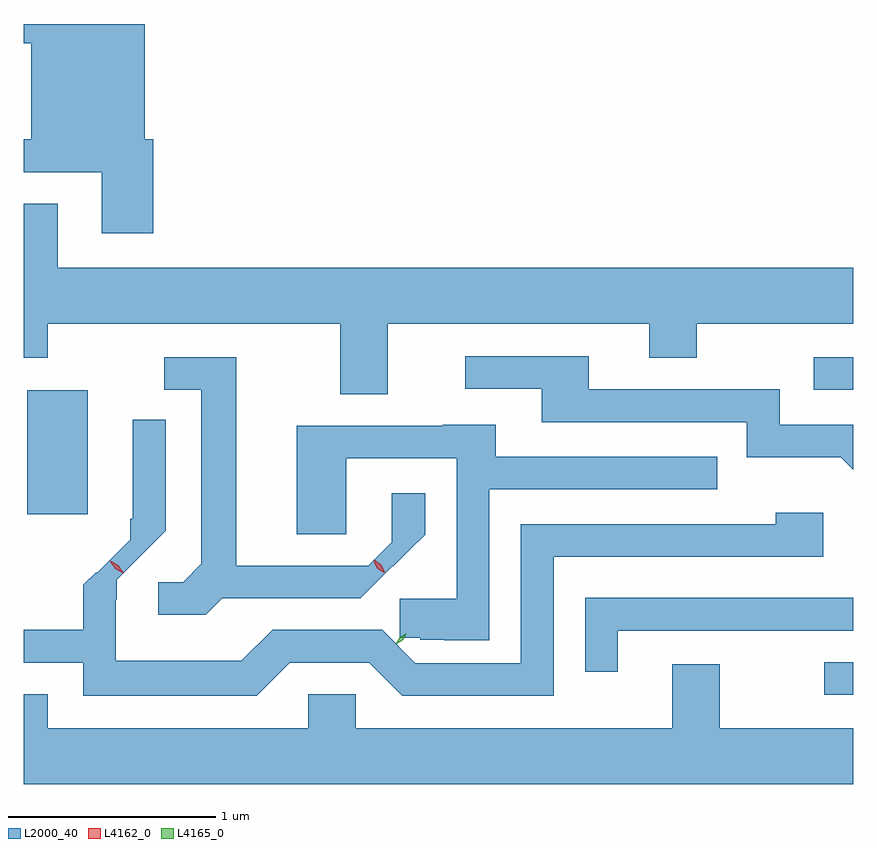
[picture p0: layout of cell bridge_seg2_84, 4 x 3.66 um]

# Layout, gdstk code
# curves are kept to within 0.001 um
import gdstk
lib = gdstk.Library(unit=1e-6, precision=1e-09)
def R(c, l, rs):  # rectangles x0, y0, x1, y1
    for r in rs: c.add(gdstk.rectangle(r[:2], r[2:], *l))
def P(c, l, *ps):  # polygons
    for p in ps: c.add(gdstk.Polygon(p, *l))
L2000_40 = (2000, 40)
L4162_0 = (4162, 0)
L4165_0 = (4165, 0)

bridge_seg2_84 = lib.new_cell('bridge_seg2_84')
R(bridge_seg2_84, L2000_40, [(1225.843,1088.706,1225.984,1088.864), (1222.001,1089.576,1222.294,1090.174), (1225.793,1090.176,1225.984,1090.334)])
P(bridge_seg2_84, L2000_40, [(1222.609,1091.384),(1222.569,1091.384),(1222.569,1091.94),(1221.984,1091.94),(1221.984,1091.846),(1222.021,1091.846),(1222.021,1091.384),(1221.984,1091.384),(1221.984,1091.226),(1222.361,1091.226),(1222.361,1090.931),(1222.609,1090.931)],
  [(1223.739,1090.496),(1225.001,1090.496),(1225.001,1090.331),(1225.229,1090.331),(1225.229,1090.496),(1225.984,1090.496),(1225.984,1090.764),(1222.149,1090.764),(1222.149,1091.074),(1221.984,1091.074),(1221.984,1090.331),(1222.099,1090.331),(1222.099,1090.496),(1223.511,1090.496),(1223.511,1090.156),(1223.739,1090.156)],
  [(1225.984,1090.009),(1225.629,1090.009),(1225.629,1090.179),(1224.709,1090.179),(1224.709,1090.339),(1224.113,1090.339),(1224.113,1090.181),(1224.481,1090.181),(1224.481,1090.021),(1225.471,1090.021),(1225.471,1089.851),(1225.924,1089.851),(1225.984,1089.791)],
  [(1222.942,1089.171),(1223.607,1089.171),(1223.763,1089.327),(1223.765,1089.326),(1223.919,1089.478),(1223.919,1089.678),(1223.759,1089.678),(1223.759,1089.442),(1223.646,1089.329),(1223.009,1089.329),(1223.009,1090.334),(1222.663,1090.334),(1222.663,1090.176),(1222.841,1090.176),(1222.841,1089.337),(1222.754,1089.249),(1222.633,1089.249),(1222.633,1089.091),(1222.862,1089.091)],
  [(1223.267,1088.861),(1223.649,1088.861),(1223.809,1088.701),(1224.539,1088.701),(1224.539,1089.371),(1225.839,1089.371),(1225.839,1089.584),(1225.611,1089.584),(1225.611,1089.529),(1224.381,1089.529),(1224.381,1088.859),(1223.872,1088.859),(1223.712,1089.019),(1223.184,1089.019),(1223.034,1088.869),(1222.429,1088.869),(1222.429,1089.165),(1222.433,1089.165),(1222.433,1089.261),(1222.669,1089.497),(1222.669,1090.033),(1222.511,1090.033),(1222.511,1089.555),(1222.498,1089.555),(1222.498,1089.453),(1222.338,1089.294),(1222.334,1089.298),(1222.271,1089.236),(1222.271,1089.019),(1221.984,1089.019),(1221.984,1088.861),(1222.271,1088.861),(1222.271,1088.701),(1223.107,1088.701)],
  [(1224.229,1089.696),(1225.328,1089.696),(1225.328,1089.854),(1224.259,1089.854),(1224.259,1090.009),(1224.005,1090.009),(1224.005,1090.004),(1223.301,1090.004),(1223.301,1089.481),(1223.539,1089.481),(1223.539,1089.846),(1224.071,1089.846),(1224.071,1089.169),(1223.798,1089.169),(1223.798,1088.982),(1223.897,1088.982),(1223.897,1088.971),(1224.011,1088.971),(1224.011,1088.97),(1224.229,1088.97)],
  [(1224.849,1089.016),(1225.984,1089.016),(1225.984,1089.174),(1224.691,1089.174),(1224.691,1088.818),(1224.849,1088.818)],
  [(1225.984,1088.544),(1225.339,1088.544),(1225.339,1088.854),(1225.111,1088.854),(1225.111,1088.544),(1223.584,1088.544),(1223.584,1088.709),(1223.356,1088.709),(1223.356,1088.544),(1222.099,1088.544),(1222.099,1088.709),(1221.984,1088.709),(1221.984,1088.276),(1225.984,1088.276)])
P(bridge_seg2_84, L4162_0, [(1223.727,1089.294),(1223.693,1089.32),(1223.673,1089.357),(1223.673,1089.358),(1223.674,1089.358),(1223.708,1089.333),(1223.728,1089.295),(1223.728,1089.294)],
  [(1222.466,1089.292),(1222.427,1089.315),(1222.4,1089.352),(1222.4,1089.352),(1222.401,1089.352),(1222.44,1089.33),(1222.466,1089.293),(1222.466,1089.292)],
  [(1223.719,1089.295),(1223.688,1089.315),(1223.672,1089.348),(1223.672,1089.348),(1223.673,1089.348),(1223.703,1089.328),(1223.719,1089.296),(1223.719,1089.295)],
  [(1222.46,1089.295),(1222.426,1089.313),(1222.403,1089.346),(1222.403,1089.346),(1222.404,1089.346),(1222.439,1089.328),(1222.461,1089.296),(1222.461,1089.295)])
P(bridge_seg2_84, L4165_0, [(1223.781,1088.952),(1223.781,1088.952),(1223.797,1088.982),(1223.827,1089),(1223.828,1089),(1223.828,1088.999),(1223.811,1088.968),(1223.782,1088.952)],
  [(1223.781,1088.954),(1223.781,1088.955),(1223.796,1088.984),(1223.824,1088.999),(1223.825,1088.999),(1223.825,1088.998),(1223.81,1088.969),(1223.782,1088.954)])

lib.write_gds('bridge_seg2_84.gds')
